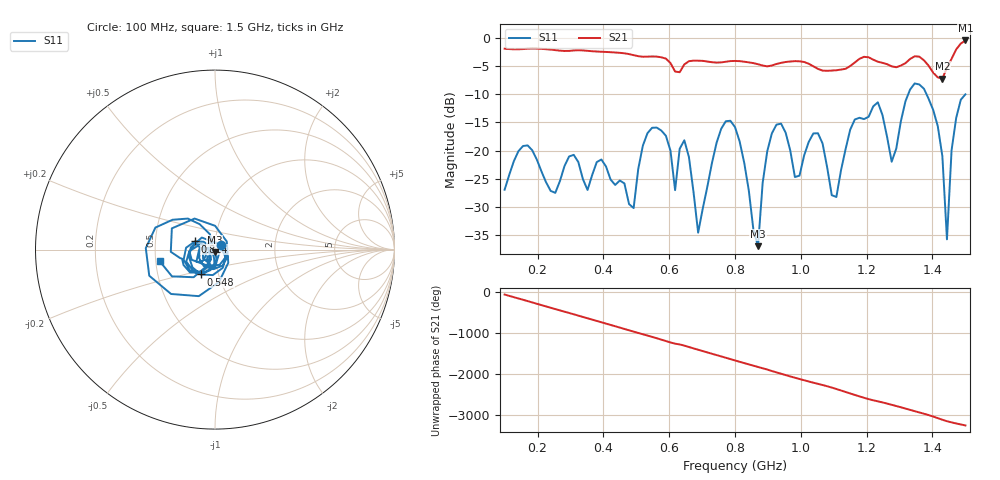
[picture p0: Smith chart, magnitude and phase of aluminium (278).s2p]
! NanoVNA-App
! Date: 2025-09-25 14:57:26
! Start: 100MHz Stop: 1,5GHz Points: 101
! S-Parameter data: F S11 S21 S12 S22
# Hz S RI R 50
!  Frequency  S11_Real  S11_Imag  S21_Real  S21_Imag  S12_Real  S12_Imag  S22_Real  S22_Imag
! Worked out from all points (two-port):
!   101 points, 100 MHz to 1.5 GHz, reference 50 ohm
!   highest |S21| = -0.46 dB at 1.5 GHz (marker M1); lowest = -7.2 dB at 1.43 GHz (marker M2)
!   |S21| within 3 dB of the highest: start of sweep to 576.6 MHz; 1.46 GHz to end of sweep (the widest 2 of 4)
!   lowest |S11| = -37.0 dB at 870 MHz (marker M3), VSWR 1.03, Z = 49.9 - j1.41 ohm
!   |S11| at or under -10 dB: start of sweep to 1.326 GHz; 1.382 GHz to end of sweep
!   S12 and S22 are empty: the file has one direction only
!   S11 on the Smith chart (normalised r, x): 100 MHz: 1.07, +0.06; 548 MHz: 0.82, -0.23; 814 MHz: 0.80, +0.07; 1.5 GHz: 0.52, -0.07
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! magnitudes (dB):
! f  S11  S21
! 100 MHz  -27.0  -1.9
! 338 MHz  -25.1  -2.2
! 492 MHz  -30.2  -3.1
! 548 MHz  -16.0  -3.3
! 576 MHz  -16.4  -3.4
! 618 MHz  -27.0  -6.0
! 646 MHz  -18.2  -4.7
! 688 MHz  -34.6  -4.1
! 800 MHz  -15.8  -4.1
! 814 MHz  -18.4  -4.1
! 870 MHz  -37.0  -4.7
! 912 MHz  -17.0  -4.9
! 982 MHz  -24.7  -4.1
! 1.038 GHz  -17.0  -5.0
! 1.108 GHz  -28.2  -5.7
! 1.234 GHz  -11.4  -4.2
! 1.276 GHz  -22.0  -5.1
! 1.346 GHz  -8.1  -3.3
! 1.43 GHz  -21.0  -7.2
! 1.444 GHz  -35.8  -5.3
! 1.458 GHz  -20.0  -3.7
! 1.5 GHz  -10.0  -0.5
